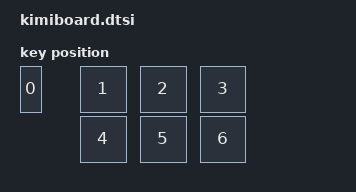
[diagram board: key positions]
#include <physical_layouts.dtsi>

/ {
    kimi_physical_layout: kimi_physical_layout {
        compatible = "zmk,physical-layout";
        display-name = "Default Layout";

        // Reference to the kscan and matrix transform nodes
        kscan = <&kscan0>;
        transform = <&default_transform>;

        keys  //                    w    h     x     y     rot rx  ry
            = <&key_physical_attrs  50   100   0     0     0   0   0>   // SW1(リセット用ボタン)
            , <&key_physical_attrs  100  100   120   0     0   0   0>   // SW2(上段左ボタン)
            , <&key_physical_attrs  100  100   240   0     0   0   0>   // SW3(上段中央ボタン)
            , <&key_physical_attrs  100  100   360   0     0   0   0>   // SW4(上段右ボタン)
            , <&key_physical_attrs  100  100   120   100   0   0   0>   // SW2(下段左ボタン)
            , <&key_physical_attrs  100  100   240   100   0   0   0>   // SW2(下段中央ボタン)
            , <&key_physical_attrs  100  100   360   100   0   0   0>   // SW2(下段右ボタン)
            ;
    };
};
